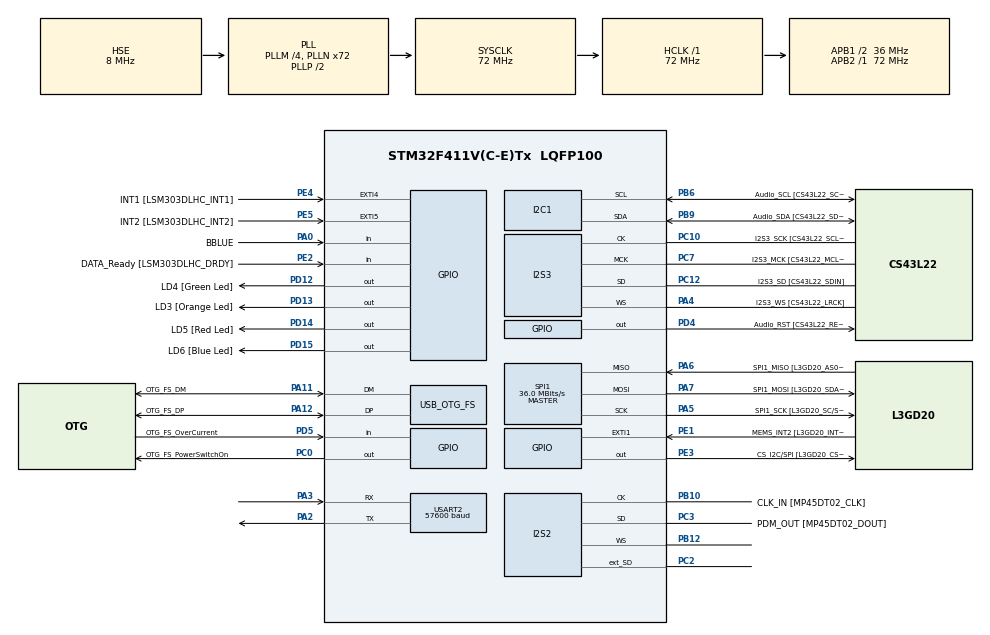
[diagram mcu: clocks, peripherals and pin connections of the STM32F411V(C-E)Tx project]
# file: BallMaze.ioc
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I2S2.AudioFreq=I2S_AUDIOFREQ_96K
I2S2.ErrorAudioFreq=0.15 %
I2S2.FullDuplexMode=I2S_FULLDUPLEXMODE_ENABLE
I2S2.Instance=SPI$Index
I2S2.RealAudioFreq=96.153 KHz
I2S2.VirtualMode=I2S_MODE_MASTER
I2S3.AudioFreq=I2S_AUDIOFREQ_96K
I2S3.ErrorAudioFreq=-6.99 %
I2S3.FullDuplexMode=I2S_FULLDUPLEXMODE_DISABLE
I2S3.Instance=SPI$Index
I2S3.RealAudioFreq=89.285 KHz
I2S3.VirtualMode=I2S_MODE_MASTER
Mcu.Family=STM32F4
Mcu.Name=STM32F411V(C-E)Tx
Mcu.Package=LQFP100
NVIC.OTG_FS_IRQn=true\:0\:0\:false\:false\:true\:true\:true
NVIC.PriorityGroup=NVIC_PRIORITYGROUP_0
NVIC.USART2_IRQn=true\:0\:0\:false\:false\:true\:true\:true
PA0-WKUP.GPIO_Label=BBLUE
PA0-WKUP.Signal=GPIO_Input
PA10.GPIO_Label=OTG_FS_ID
PA10.Signal=USB_OTG_FS_ID
PA11.GPIO_Label=OTG_FS_DM
PA11.Mode=Device_Only
PA11.Signal=USB_OTG_FS_DM
PA12.GPIO_Label=OTG_FS_DP
PA12.Mode=Device_Only
PA12.Signal=USB_OTG_FS_DP
PA13.GPIO_Label=SWDIO
PA13.Signal=SYS_JTMS-SWDIO
PA14.GPIO_Label=SWCLK
PA14.Signal=SYS_JTCK-SWCLK
PA2.Mode=Asynchronous
PA2.Signal=USART2_TX
PA3.Mode=Asynchronous
PA3.Signal=USART2_RX
PA4.GPIO_Label=I2S3_WS [CS43L22_LRCK]
PA4.GPIO_Mode=GPIO_MODE_AF_PP
PA4.GPIO_PuPd=GPIO_NOPULL
PA4.GPIO_Speed=GPIO_SPEED_FREQ_LOW
PA4.Mode=Half_Duplex_Master
PA4.Signal=I2S3_WS
PA5.GPIO_Label=SPI1_SCK [L3GD20_SC/SPC]
PA5.Mode=Full_Duplex_Master
PA5.Signal=SPI1_SCK
PA6.GPIO_Label=SPI1_MISO [L3GD20_AS0/SDO]
PA6.Mode=Full_Duplex_Master
PA6.Signal=SPI1_MISO
PA7.GPIO_Label=SPI1_MOSI [L3GD20_SDA/SDI/SDO]
PA7.Mode=Full_Duplex_Master
PA7.Signal=SPI1_MOSI
PA9.GPIO_Label=VBUS_FS
PA9.Signal=USB_OTG_FS_VBUS
PB10.GPIO_Label=CLK_IN [MP45DT02_CLK]
PB10.Mode=Full_Duplex_Master
PB10.Signal=I2S2_CK
PB12.Mode=Full_Duplex_Master
PB12.Signal=I2S2_WS
PB3.GPIO_Label=SWO
PB3.Signal=SYS_JTDO-SWO
PB6.GPIO_Label=Audio_SCL [CS43L22_SCL]
PB6.GPIO_Mode=GPIO_MODE_AF_OD
PB6.GPIO_PuPd=GPIO_NOPULL
PB6.GPIO_Speed=GPIO_SPEED_FREQ_LOW
PB6.Mode=I2C
PB6.Signal=I2C1_SCL
PB9.GPIO_Label=Audio_SDA [CS43L22_SDA]
PB9.GPIO_Mode=GPIO_MODE_AF_OD
PB9.GPIO_PuPd=GPIO_NOPULL
PB9.GPIO_Speed=GPIO_SPEED_FREQ_LOW
PB9.Mode=I2C
PB9.Signal=I2C1_SDA
PC0.GPIO_Label=OTG_FS_PowerSwitchOn
PC0.PinState=GPIO_PIN_SET
PC0.Signal=GPIO_Output
PC10.GPIO_Label=I2S3_SCK [CS43L22_SCLK]
PC10.GPIO_Mode=GPIO_MODE_AF_PP
PC10.GPIO_PuPd=GPIO_NOPULL
PC10.GPIO_Speed=GPIO_SPEED_FREQ_LOW
PC10.Mode=Half_Duplex_Master
PC10.Signal=I2S3_CK
PC12.GPIO_Label=I2S3_SD [CS43L22_SDIN]
PC12.GPIO_Mode=GPIO_MODE_AF_PP
PC12.GPIO_PuPd=GPIO_NOPULL
PC12.GPIO_Speed=GPIO_SPEED_FREQ_LOW
PC12.Mode=Half_Duplex_Master
PC12.Signal=I2S3_SD
PC14-OSC32_IN.GPIO_Label=PC14-OSC32_IN
PC14-OSC32_IN.Signal=RCC_OSC32_IN
PC15-OSC32_OUT.GPIO_Label=PC15-OSC32_OUT
PC15-OSC32_OUT.Signal=RCC_OSC32_OUT
PC2.Mode=Full_Duplex_Master
PC2.Signal=I2S2_ext_SD
PC3.GPIO_Label=PDM_OUT [MP45DT02_DOUT]
PC3.Mode=Full_Duplex_Master
PC3.Signal=I2S2_SD
PC7.GPIO_Label=I2S3_MCK [CS43L22_MCLK]
PC7.GPIO_Mode=GPIO_MODE_AF_PP
PC7.GPIO_PuPd=GPIO_NOPULL
PC7.GPIO_Speed=GPIO_SPEED_FREQ_LOW
PC7.Mode=Master_Clock_Activated
PC7.Signal=I2S3_MCK
PD12.GPIO_Label=LD4 [Green Led]
PD12.GPIO_PuPd=GPIO_NOPULL
PD12.GPIO_Speed=GPIO_SPEED_FREQ_LOW
PD12.Signal=GPIO_Output
PD13.GPIO_Label=LD3 [Orange Led]
PD13.GPIO_PuPd=GPIO_NOPULL
PD13.GPIO_Speed=GPIO_SPEED_FREQ_LOW
PD13.Signal=GPIO_Output
PD14.GPIO_Label=LD5 [Red Led]
PD14.GPIO_PuPd=GPIO_NOPULL
PD14.GPIO_Speed=GPIO_SPEED_FREQ_LOW
PD14.Signal=GPIO_Output
PD15.GPIO_Label=LD6 [Blue Led]
PD15.GPIO_PuPd=GPIO_NOPULL
PD15.GPIO_Speed=GPIO_SPEED_FREQ_LOW
PD15.Signal=GPIO_Output
PD4.GPIO_Label=Audio_RST [CS43L22_RESET]
PD4.Signal=GPIO_Output
PD5.GPIO_Label=OTG_FS_OverCurrent
PD5.Signal=GPIO_Input
PE1.GPIO_Label=MEMS_INT2 [L3GD20_INT2]
PE1.GPIO_ModeDefaultEXTI=GPIO_MODE_EVT_RISING
PE1.Signal=GPXTI1
PE2.GPIO_Label=DATA_Ready [LSM303DLHC_DRDY]
PE2.Signal=GPIO_Input
PE3.GPIO_Label=CS_I2C/SPI [L3GD20_CS_I2C/SPI]
PE3.Signal=GPIO_Output
PE4.GPIO_Label=INT1 [LSM303DLHC_INT1]
PE4.GPIO_ModeDefaultEXTI=GPIO_MODE_EVT_RISING
PE4.Signal=GPXTI4
PE5.GPIO_Label=INT2 [LSM303DLHC_INT2]
PE5.GPIO_ModeDefaultEXTI=GPIO_MODE_EVT_RISING
PE5.Signal=GPXTI5
PH0\ -\ OSC_IN.GPIO_Label=PH0-OSC_IN
PH0\ -\ OSC_IN.Mode=HSE-External-Oscillator
PH0\ -\ OSC_IN.Signal=RCC_OSC_IN
PH1\ -\ OSC_OUT.GPIO_Label=PH1-OSC_OUT
PH1\ -\ OSC_OUT.Mode=HSE-External-Oscillator
PH1\ -\ OSC_OUT.Signal=RCC_OSC_OUT
ProjectManager.HeapSize=0x200
ProjectManager.StackSize=0x400
ProjectManager.TargetToolchain=STM32CubeIDE
RCC.48MHZClocksFreq_Value=48000000
RCC.AHBFreq_Value=72000000
RCC.APB1CLKDivider=RCC_HCLK_DIV2
RCC.APB1Freq_Value=36000000
RCC.APB1TimFreq_Value=72000000
RCC.APB2Freq_Value=72000000
RCC.APB2TimFreq_Value=72000000
RCC.CortexFreq_Value=72000000
RCC.HCLKFreq_Value=72000000
RCC.HSE_VALUE=8000000
RCC.HSI_VALUE=16000000
RCC.LSE_VALUE=32768
RCC.PLLI2SM=5
RCC.PLLI2SN=200
RCC.PLLM=4
RCC.PLLN=72
RCC.PLLQ=3
RCC.SYSCLKFreq_VALUE=72000000
RCC.SYSCLKSource=RCC_SYSCLKSOURCE_PLLCLK
RCC.VCOOutputFreq_Value=144000000
SPI1.BaudRatePrescaler=SPI_BAUDRATEPRESCALER_2
SPI1.CalculateBaudRate=36.0 MBits/s
SPI1.DataSize=SPI_DATASIZE_16BIT
SPI1.Direction=SPI_DIRECTION_2LINES
SPI1.Mode=SPI_MODE_MASTER
SPI1.VirtualType=VM_MASTER
USART2.BaudRate=57600
USART2.VirtualMode=VM_ASYNC
USB_DEVICE.CLASS_NAME_FS=CDC
USB_DEVICE.VirtualMode=Cdc
USB_DEVICE.VirtualModeFS=Cdc_FS
USB_OTG_FS.VirtualMode=Device_Only
VP_USB_DEVICE_VS_USB_DEVICE_CDC_FS.Mode=CDC_FS
board=STM32F411E-DISCO

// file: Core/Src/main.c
/* USER CODE BEGIN Header */
/**
  ******************************************************************************
  * @file           : main.c
  * @brief          : Main program body
  ******************************************************************************
  * @attention
  *
  * <h2><center>&copy; Copyright (c) 2020 STMicroelectronics.
  * All rights reserved.</center></h2>
  *
  * This software component is licensed by ST under Ultimate Liberty license
  * SLA0044, the "License"; You may not use this file except in compliance with
  * the License. You may obtain a copy of the License at:
  *                             www.st.com/SLA0044
  *
  ******************************************************************************
  */
/* USER CODE END Header */

#include "main.h"
#include "i2c.h"
#include "i2s.h"
#include "spi.h"
#include "usart.h"
#include "usb_device.h"
#include "gpio.h"

/* USER CODE BEGIN Includes */

#include "usbd_cdc_if.h" // Plik bedacy interfejsem uzytkownika do kontrolera USB
#include <limits.h>
#include <stdio.h>

/* USER CODE END Includes */

/* USER CODE BEGIN PV */
/* Private variables ---------------------------------------------------------*/

uint8_t DataToSend[1000];
uint8_t Dlugosc = 0;

int nIndex = 0;
int lastIndex = 0;
int16_t pDataXYZ[3];
int16_t pDataX = 0;
int16_t pDataY = 0;
int16_t pDataZ = 0;
/* USER CODE END PV */

void SystemClock_Config(void);

/* USER CODE BEGIN 0 */
int _write(int file, char *ptr, int len){
	HAL_UART_Transmit(&huart2, ptr, len, 50);
	return len;
}
//void _write(int file, char *ptr, int len){
//	int i;
//	for (i=0; i < len; ++i){
//		ITM_SendChar(*ptr++);
//	}
//	return len;
//}
/* USER CODE END 0 */

int main(void)
{

  /* MCU Configuration--------------------------------------------------------*/

  /* Reset of all peripherals, Initializes the Flash interface and the Systick. */
  HAL_Init();

  /* Configure the system clock */
  SystemClock_Config();

  /* Initialize all configured peripherals */
  MX_GPIO_Init();
  MX_I2C1_Init();
  MX_I2S2_Init();
  MX_I2S3_Init();
  MX_SPI1_Init();
  MX_USART2_UART_Init();
  MX_USB_DEVICE_Init();
  /* USER CODE BEGIN 2 */
//	uint8_t Settings = LSM303_ACC_XYZ_ENABLE | LSM303_ACC_100HZ;
//	HAL_I2C_Mem_Write(&hi2c1, LSM303_ACC_ADDRESS, LSM303_ACC_CTRL_REG1_A, 1,
//			&Settings, 1, 100);
  BSP_ACCELERO_Init();

  /* USER CODE END 2 */

  /* Infinite loop */
  while (1)
  {

    /* USER CODE BEGIN 3 */
	  	if(nIndex%10==0){
			BSP_ACCELERO_GetXYZ(pDataXYZ);
			pDataX = pDataX*9/10 + pDataXYZ[0]*1/10;
			pDataY = pDataY*9/10 + pDataXYZ[1]*1/10;
			pDataZ = pDataZ*9/10 + pDataXYZ[2]*1/10;
			Dlugosc = sprintf(DataToSend, "X %d %d %d \r\n", pDataX, pDataY, pDataZ);
			CDC_Transmit_FS(DataToSend, Dlugosc);
	  	}
	  	if(HAL_GPIO_ReadPin(BBLUE_GPIO_Port, BBLUE_Pin) && nIndex > 200+lastIndex){
			Dlugosc = sprintf(DataToSend, "Y \r\n");
			CDC_Transmit_FS(DataToSend, Dlugosc);
			lastIndex = nIndex;
	  	}

	nIndex++;
//	HAL_GPIO_TogglePin(LD3_GPIO_Port, LD3_Pin);
//	Dlugosc = sprintf(DataToSend, " X 1000 200 300 ");
//	CDC_Transmit_FS(DataToSend, Dlugosc);
    HAL_Delay(1);
  }
  /* USER CODE END 3 */
}

void SystemClock_Config(void)
{
  RCC_OscInitTypeDef RCC_OscInitStruct = {0};
  RCC_ClkInitTypeDef RCC_ClkInitStruct = {0};
  RCC_PeriphCLKInitTypeDef PeriphClkInitStruct = {0};

  /** Configure the main internal regulator output voltage
  */
  __HAL_RCC_PWR_CLK_ENABLE();
  __HAL_PWR_VOLTAGESCALING_CONFIG(PWR_REGULATOR_VOLTAGE_SCALE1);
  /** Initializes the CPU, AHB and APB busses clocks
  */
  RCC_OscInitStruct.OscillatorType = RCC_OSCILLATORTYPE_HSE;
  RCC_OscInitStruct.HSEState = RCC_HSE_ON;
  RCC_OscInitStruct.PLL.PLLState = RCC_PLL_ON;
  RCC_OscInitStruct.PLL.PLLSource = RCC_PLLSOURCE_HSE;
  RCC_OscInitStruct.PLL.PLLM = 4;
  RCC_OscInitStruct.PLL.PLLN = 72;
  RCC_OscInitStruct.PLL.PLLP = RCC_PLLP_DIV2;
  RCC_OscInitStruct.PLL.PLLQ = 3;
  if (HAL_RCC_OscConfig(&RCC_OscInitStruct) != HAL_OK)
  {
    Error_Handler();
  }
  /** Initializes the CPU, AHB and APB busses clocks
  */
  RCC_ClkInitStruct.ClockType = RCC_CLOCKTYPE_HCLK|RCC_CLOCKTYPE_SYSCLK
                              |RCC_CLOCKTYPE_PCLK1|RCC_CLOCKTYPE_PCLK2;
  RCC_ClkInitStruct.SYSCLKSource = RCC_SYSCLKSOURCE_PLLCLK;
  RCC_ClkInitStruct.AHBCLKDivider = RCC_SYSCLK_DIV1;
  RCC_ClkInitStruct.APB1CLKDivider = RCC_HCLK_DIV2;
  RCC_ClkInitStruct.APB2CLKDivider = RCC_HCLK_DIV1;

  if (HAL_RCC_ClockConfig(&RCC_ClkInitStruct, FLASH_LATENCY_2) != HAL_OK)
  {
    Error_Handler();
  }
  PeriphClkInitStruct.PeriphClockSelection = RCC_PERIPHCLK_I2S;
  PeriphClkInitStruct.PLLI2S.PLLI2SN = 200;
  PeriphClkInitStruct.PLLI2S.PLLI2SM = 5;
  PeriphClkInitStruct.PLLI2S.PLLI2SR = 2;
  if (HAL_RCCEx_PeriphCLKConfig(&PeriphClkInitStruct) != HAL_OK)
  {
    Error_Handler();
  }
}

void Error_Handler(void)
{
}

/************************ (C) COPYRIGHT STMicroelectronics *****END OF FILE****/
